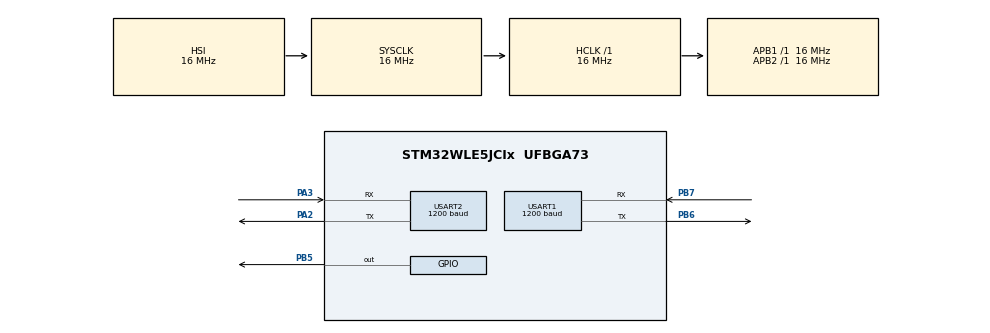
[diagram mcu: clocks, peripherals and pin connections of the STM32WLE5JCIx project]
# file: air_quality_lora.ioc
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Mcu.Family=STM32WL
Mcu.Name=STM32WLE5JCIx
Mcu.Package=UFBGA73
NVIC.PriorityGroup=NVIC_PRIORITYGROUP_4
NVIC.RTC_Alarm_IRQn=true\:0\:0\:false\:false\:true\:true\:true\:true
NVIC.USART2_IRQn=true\:0\:0\:false\:false\:true\:true\:true\:true
PA2.Mode=Asynchronous
PA2.Signal=USART2_TX
PA3.Mode=Asynchronous
PA3.Signal=USART2_RX
PB5.PinState=GPIO_PIN_SET
PB5.Signal=GPIO_Output
PB6.Mode=Asynchronous
PB6.Signal=USART1_TX
PB7.Mode=Asynchronous
PB7.Signal=USART1_RX
ProjectManager.HeapSize=0x200
ProjectManager.StackSize=0x400
ProjectManager.TargetToolchain=STM32CubeIDE
RCC.AHBFreq_Value=16000000
RCC.APB1Freq_Value=16000000
RCC.APB1TimFreq_Value=16000000
RCC.APB2Freq_Value=16000000
RCC.APB2TimFreq_Value=16000000
RCC.APB3Freq_Value=16000000
RCC.CortexFreq_Value=16000000
RCC.HCLKFreq_Value=16000000
RCC.HSE_VALUE=8000000
RCC.HSI_VALUE=16000000
RCC.LSE_VALUE=32768
RCC.SYSCLKFreq_VALUE=16000000
RCC.SYSCLKSource=RCC_SYSCLKSOURCE_HSI
RCC.VCOOutputFreq_Value=32000000
RTC.Alarm-Alarm\ A=RTC_ALARM_A
RTC.AlarmMaskDateWeekDay-Alarm\ A=RTC_ALARMMASK_DATEWEEKDAY
RTC.AlarmMaskHours-Alarm\ A=RTC_ALARMMASK_HOURS
RTC.AlarmMaskMinutes-Alarm\ A=RTC_ALARMMASK_MINUTES
RTC.AlarmSubSecondMask-Alarm\ A=RTC_ALARMSUBSECONDMASK_NONE
RTC.HourFormat=RTC_HOURFORMAT_12
RTC.Seconds_A-Alarm\ A=10
RTC.SynchPrediv=249
TIM17.AutoReloadPreload=TIM_AUTORELOAD_PRELOAD_DISABLE
TIM17.Period=0xffff
TIM17.Prescaler=15
USART1.BaudRate=1200
USART1.VirtualMode-Asynchronous=VM_ASYNC
USART2.BaudRate=1200
USART2.VirtualMode-Asynchronous=VM_ASYNC
VP_RTC_VS_RTC_Activate.Mode=RTC_Enabled
VP_RTC_VS_RTC_Alarm_A_Intern.Mode=Alarm A
VP_RTC_VS_RTC_Calendar.Mode=RTC_Calendar
VP_TIM17_VS_ClockSourceINT.Mode=Enable_Timer
board=custom

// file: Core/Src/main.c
/* USER CODE BEGIN Header */
/**
  ******************************************************************************
  * @file           : main.c
  * @brief          : Main program body
  ******************************************************************************
  * @attention
  *
  * Copyright (c) 2023 STMicroelectronics.
  * All rights reserved.
  *
  * This software is licensed under terms that can be found in the LICENSE file
  * in the root directory of this software component.
  * If no LICENSE file comes with this software, it is provided AS-IS.
  *
  ******************************************************************************
  */
/* USER CODE END Header */
#include "main.h"

/* USER CODE BEGIN Includes */
#include <string.h>
#include <stdio.h>
/* USER CODE END Includes */

RTC_HandleTypeDef hrtc;

TIM_HandleTypeDef htim17;

UART_HandleTypeDef huart1;
UART_HandleTypeDef huart2;

/* USER CODE BEGIN PV */
GPIO_InitTypeDef pb10 = {0};
char msg[100];
char HUM[100], TEMP[100];
DHT11_t dht11;
volatile uint32_t ms;

//commands for the particle sensor
const uint8_t init_cmd = 0xFF;
const uint8_t start_cmd[5] = {0xFE, 0xA5, 0x00, 0x11, 0xB6};
const uint8_t stop_cmd[5] = {0xFE, 0xA5, 0x00, 0x10, 0xB5};
const uint8_t read_pm25[5] = {0xFE, 0xA5, 0x00, 0x00, 0xA5};
const uint8_t read_all[5] = {0xFE, 0xA5, 0x00, 0x01, 0xA6};

IH_PMC_t particle_sensor;
uint8_t data_byte;
volatile uint8_t cnt = 0, alarm_flag = 0;
/* USER CODE END PV */

void SystemClock_Config(void);
static void MX_GPIO_Init(void);
static void MX_TIM17_Init(void);
static void MX_USART1_UART_Init(void);
static void MX_USART2_UART_Init(void);
static void MX_RTC_Init(void);
/* USER CODE BEGIN PFP */
void delay_us(uint32_t us);
void delay_ms(uint32_t delay);
void DHT11_start(void);
uint8_t Check_Response(void);
void DHT11_read(void);
void Temp_humidity_values(void);
void Particle_sensor_values(void);

/* USER CODE END PFP */

int main(void)
{

  /* MCU Configuration--------------------------------------------------------*/

  /* Reset of all peripherals, Initializes the Flash interface and the Systick. */
  HAL_Init();

  /* Configure the system clock */
  SystemClock_Config();

  /* Initialize all configured peripherals */
  MX_GPIO_Init();
  MX_TIM17_Init();
  MX_USART1_UART_Init();
  MX_USART2_UART_Init();
  MX_RTC_Init();

  /* Infinite loop */
  /* USER CODE BEGIN WHILE */
  while (1)
  {
	  if(alarm_flag)
	  {
		  Particle_sensor_values();
      	  Temp_humidity_values();
      	  alarm_flag = 0;

      	  sprintf(msg, "Enter sleep mode\r\n\r\n");
      	  HAL_UART_Transmit(&huart1, (uint8_t *)msg, strlen(msg), HAL_MAX_DELAY);

      	  HAL_SuspendTick();
      	  HAL_PWR_EnterSLEEPMode(PWR_MAINREGULATOR_ON, PWR_SLEEPENTRY_WFI);

      	  sprintf(msg, "Exit sleep mode\r\n\r\n");
      	  HAL_UART_Transmit(&huart1, (uint8_t *)msg, strlen(msg), HAL_MAX_DELAY);
	  }
      /* USER CODE END WHILE */

  }
}

void SystemClock_Config(void)
{
  RCC_OscInitTypeDef RCC_OscInitStruct = {0};
  RCC_ClkInitTypeDef RCC_ClkInitStruct = {0};

  /** Configure the main internal regulator output voltage
  */
  __HAL_PWR_VOLTAGESCALING_CONFIG(PWR_REGULATOR_VOLTAGE_SCALE2);

  /** Initializes the CPU, AHB and APB buses clocks
  */
  RCC_OscInitStruct.OscillatorType = RCC_OSCILLATORTYPE_HSI|RCC_OSCILLATORTYPE_LSI;
  RCC_OscInitStruct.HSIState = RCC_HSI_ON;
  RCC_OscInitStruct.HSICalibrationValue = RCC_HSICALIBRATION_DEFAULT;
  RCC_OscInitStruct.LSIDiv = RCC_LSI_DIV1;
  RCC_OscInitStruct.LSIState = RCC_LSI_ON;
  RCC_OscInitStruct.PLL.PLLState = RCC_PLL_NONE;
  if (HAL_RCC_OscConfig(&RCC_OscInitStruct) != HAL_OK)
  {
    Error_Handler();
  }

  /** Configure the SYSCLKSource, HCLK, PCLK1 and PCLK2 clocks dividers
  */
  RCC_ClkInitStruct.ClockType = RCC_CLOCKTYPE_HCLK3|RCC_CLOCKTYPE_HCLK
                              |RCC_CLOCKTYPE_SYSCLK|RCC_CLOCKTYPE_PCLK1
                              |RCC_CLOCKTYPE_PCLK2;
  RCC_ClkInitStruct.SYSCLKSource = RCC_SYSCLKSOURCE_HSI;
  RCC_ClkInitStruct.AHBCLKDivider = RCC_SYSCLK_DIV1;
  RCC_ClkInitStruct.APB1CLKDivider = RCC_HCLK_DIV1;
  RCC_ClkInitStruct.APB2CLKDivider = RCC_HCLK_DIV1;
  RCC_ClkInitStruct.AHBCLK3Divider = RCC_SYSCLK_DIV1;

  if (HAL_RCC_ClockConfig(&RCC_ClkInitStruct, FLASH_LATENCY_0) != HAL_OK)
  {
    Error_Handler();
  }
}

static void MX_RTC_Init(void)
{

  RTC_TimeTypeDef sTime = {0};
  RTC_DateTypeDef sDate = {0};
  RTC_AlarmTypeDef sAlarm = {0};

  /** Initialize RTC Only
  */
  hrtc.Instance = RTC;
  hrtc.Init.HourFormat = RTC_HOURFORMAT_12;
  hrtc.Init.AsynchPrediv = 127;
  hrtc.Init.SynchPrediv = 249;
  hrtc.Init.OutPut = RTC_OUTPUT_DISABLE;
  hrtc.Init.OutPutRemap = RTC_OUTPUT_REMAP_NONE;
  hrtc.Init.OutPutPolarity = RTC_OUTPUT_POLARITY_HIGH;
  hrtc.Init.OutPutType = RTC_OUTPUT_TYPE_OPENDRAIN;
  hrtc.Init.OutPutPullUp = RTC_OUTPUT_PULLUP_NONE;
  hrtc.Init.BinMode = RTC_BINARY_NONE;
  if (HAL_RTC_Init(&hrtc) != HAL_OK)
  {
    Error_Handler();
  }

  /** Initialize RTC and set the Time and Date
  */
  sTime.Hours = 0x1;
  sTime.Minutes = 0x0;
  sTime.Seconds = 0x0;
  sTime.TimeFormat = RTC_HOURFORMAT12_AM;
  sTime.DayLightSaving = RTC_DAYLIGHTSAVING_NONE;
  sTime.StoreOperation = RTC_STOREOPERATION_RESET;
  if (HAL_RTC_SetTime(&hrtc, &sTime, RTC_FORMAT_BCD) != HAL_OK)
  {
    Error_Handler();
  }
  sDate.WeekDay = RTC_WEEKDAY_MONDAY;
  sDate.Month = RTC_MONTH_JANUARY;
  sDate.Date = 0x1;
  sDate.Year = 0x0;

  if (HAL_RTC_SetDate(&hrtc, &sDate, RTC_FORMAT_BCD) != HAL_OK)
  {
    Error_Handler();
  }

  /** Enable the Alarm A
  */
  sAlarm.AlarmTime.Hours = 0x0;
  sAlarm.AlarmTime.Minutes = 0x0;
  sAlarm.AlarmTime.Seconds = 0x10;
  sAlarm.AlarmTime.SubSeconds = 0x0;
  sAlarm.AlarmTime.TimeFormat = RTC_HOURFORMAT12_AM;
  sAlarm.AlarmTime.DayLightSaving = RTC_DAYLIGHTSAVING_NONE;
  sAlarm.AlarmTime.StoreOperation = RTC_STOREOPERATION_RESET;
  sAlarm.AlarmMask = RTC_ALARMMASK_DATEWEEKDAY|RTC_ALARMMASK_HOURS
                              |RTC_ALARMMASK_MINUTES;
  sAlarm.AlarmSubSecondMask = RTC_ALARMSUBSECONDMASK_NONE;
  sAlarm.AlarmDateWeekDaySel = RTC_ALARMDATEWEEKDAYSEL_DATE;
  sAlarm.AlarmDateWeekDay = 0x1;
  sAlarm.Alarm = RTC_ALARM_A;
  if (HAL_RTC_SetAlarm_IT(&hrtc, &sAlarm, RTC_FORMAT_BCD) != HAL_OK)
  {
    Error_Handler();
  }

}

static void MX_TIM17_Init(void)
{

  htim17.Instance = TIM17;
  htim17.Init.Prescaler = 15;
  htim17.Init.CounterMode = TIM_COUNTERMODE_UP;
  htim17.Init.Period = 0xffff;
  htim17.Init.ClockDivision = TIM_CLOCKDIVISION_DIV1;
  htim17.Init.RepetitionCounter = 0;
  htim17.Init.AutoReloadPreload = TIM_AUTORELOAD_PRELOAD_DISABLE;
  if (HAL_TIM_Base_Init(&htim17) != HAL_OK)
  {
    Error_Handler();
  }

}

static void MX_USART1_UART_Init(void)
{

  huart1.Instance = USART1;
  huart1.Init.BaudRate = 1200;
  huart1.Init.WordLength = UART_WORDLENGTH_8B;
  huart1.Init.StopBits = UART_STOPBITS_1;
  huart1.Init.Parity = UART_PARITY_NONE;
  huart1.Init.Mode = UART_MODE_TX_RX;
  huart1.Init.HwFlowCtl = UART_HWCONTROL_NONE;
  huart1.Init.OverSampling = UART_OVERSAMPLING_16;
  huart1.Init.OneBitSampling = UART_ONE_BIT_SAMPLE_DISABLE;
  huart1.Init.ClockPrescaler = UART_PRESCALER_DIV1;
  huart1.AdvancedInit.AdvFeatureInit = UART_ADVFEATURE_NO_INIT;
  if (HAL_UART_Init(&huart1) != HAL_OK)
  {
    Error_Handler();
  }
  if (HAL_UARTEx_SetTxFifoThreshold(&huart1, UART_TXFIFO_THRESHOLD_1_8) != HAL_OK)
  {
    Error_Handler();
  }
  if (HAL_UARTEx_SetRxFifoThreshold(&huart1, UART_RXFIFO_THRESHOLD_1_8) != HAL_OK)
  {
    Error_Handler();
  }
  if (HAL_UARTEx_DisableFifoMode(&huart1) != HAL_OK)
  {
    Error_Handler();
  }

}

static void MX_USART2_UART_Init(void)
{

  huart2.Instance = USART2;
  huart2.Init.BaudRate = 1200;
  huart2.Init.WordLength = UART_WORDLENGTH_8B;
  huart2.Init.StopBits = UART_STOPBITS_1;
  huart2.Init.Parity = UART_PARITY_NONE;
  huart2.Init.Mode = UART_MODE_TX_RX;
  huart2.Init.HwFlowCtl = UART_HWCONTROL_NONE;
  huart2.Init.OverSampling = UART_OVERSAMPLING_16;
  huart2.Init.OneBitSampling = UART_ONE_BIT_SAMPLE_DISABLE;
  huart2.Init.ClockPrescaler = UART_PRESCALER_DIV1;
  huart2.AdvancedInit.AdvFeatureInit = UART_ADVFEATURE_NO_INIT;
  if (HAL_UART_Init(&huart2) != HAL_OK)
  {
    Error_Handler();
  }
  if (HAL_UARTEx_SetTxFifoThreshold(&huart2, UART_TXFIFO_THRESHOLD_1_8) != HAL_OK)
  {
    Error_Handler();
  }
  if (HAL_UARTEx_SetRxFifoThreshold(&huart2, UART_RXFIFO_THRESHOLD_1_8) != HAL_OK)
  {
    Error_Handler();
  }
  if (HAL_UARTEx_DisableFifoMode(&huart2) != HAL_OK)
  {
    Error_Handler();
  }

}

static void MX_GPIO_Init(void)
{
  GPIO_InitTypeDef GPIO_InitStruct = {0};

  /* GPIO Ports Clock Enable */
  __HAL_RCC_GPIOB_CLK_ENABLE();
  __HAL_RCC_GPIOA_CLK_ENABLE();

  /*Configure GPIO pin Output Level */
  HAL_GPIO_WritePin(GPIOB, GPIO_PIN_5, GPIO_PIN_SET);

  /*Configure GPIO pin : PB5 */
  GPIO_InitStruct.Pin = GPIO_PIN_5;
  GPIO_InitStruct.Mode = GPIO_MODE_OUTPUT_PP;
  GPIO_InitStruct.Pull = GPIO_NOPULL;
  GPIO_InitStruct.Speed = GPIO_SPEED_FREQ_LOW;
  HAL_GPIO_Init(GPIOB, &GPIO_InitStruct);

}

/* USER CODE BEGIN 4 */
void HAL_RTC_AlarmAEventCallback(RTC_HandleTypeDef *hrtc)
{
	HAL_ResumeTick();
	alarm_flag = 1;
	HAL_GPIO_TogglePin(GPIOB, GPIO_PIN_5);
}
void delay_us(uint32_t us)
{
	__HAL_TIM_SET_COUNTER(&htim17, 0); //set counter to 0
	while(__HAL_TIM_GET_COUNTER(&htim17) < us); //wait until reaches the desired delay in us
}
void delay_ms(uint32_t delay)
{
	ms = 0;
	while(ms < delay);
}

void PB10_Init_Output(void)
{
	__HAL_RCC_GPIOB_CLK_ENABLE();

	pb10.Mode = GPIO_MODE_OUTPUT_PP;
	pb10.Pin = GPIO_PIN_10;
	pb10.Pull = GPIO_NOPULL;
	pb10.Speed = GPIO_SPEED_FREQ_LOW;
	HAL_GPIO_Init(GPIOB, &pb10);

}
void PB10_Init_Input(void)
{
	__HAL_RCC_GPIOB_CLK_ENABLE();

	pb10.Mode = GPIO_MODE_INPUT;
	pb10.Pin = GPIO_PIN_10;
	pb10.Speed = GPIO_SPEED_FREQ_LOW;
	HAL_GPIO_Init(GPIOB, &pb10);

}

void DHT11_start(void)
{
	PB10_Init_Output(); 									//PB10 set as output
	HAL_GPIO_WritePin(GPIOB, GPIO_PIN_10, GPIO_PIN_RESET); 	// PB10 set to LOW

	delay_ms(20);											//delay 18 ms

	HAL_GPIO_WritePin(GPIOB, GPIO_PIN_10, GPIO_PIN_SET); 	// PB10 set to HIGH

	PB10_Init_Input(); 										// PB10 set as input

}

uint8_t Check_Response(void)
{
	uint8_t Response = 0;

	delay_us(40);							//50us delay

	if(HAL_GPIO_ReadPin(GPIOB, GPIO_PIN_10) == GPIO_PIN_RESET)		//if PB10 is LOW
	{
		delay_us(80);						//80us delay

		if(HAL_GPIO_ReadPin(GPIOB, GPIO_PIN_10) == GPIO_PIN_SET)
		{
			Response = 1;

		}
		else
		{
			Response = -1;

		}

	}

	while(HAL_GPIO_ReadPin(GPIOB, GPIO_PIN_10) == GPIO_PIN_SET); //wait for the PB10 to go LOW

	return Response;
}

void DHT11_read(void)
{

	uint8_t bit;

	for(uint32_t i = 0; i<32; i++)
	{
		while(HAL_GPIO_ReadPin(GPIOB, GPIO_PIN_10) == GPIO_PIN_RESET); 	//wait for the PB10 to go HIGH
		delay_us(40);

		if(HAL_GPIO_ReadPin(GPIOB, GPIO_PIN_10) == GPIO_PIN_SET)		//check if the PB10 is HIGH or LOW
			bit = 1;
		else
			bit = 0;

		dht11.getResult |= (bit << (31 - i));

		while(HAL_GPIO_ReadPin(GPIOB, GPIO_PIN_10) == GPIO_PIN_SET); 	//wait for the PB10 to go LOW

	}

}

void Temp_humidity_values(void)
{
	HAL_TIM_Base_Start(&htim17);
	delay_ms(1000);

	DHT11_start();
	Check_Response();
	DHT11_read();

	sprintf(HUM, "HUM: %d,%d %%\r\n", dht11.Values.intRH,dht11.Values.decRH );
	HAL_UART_Transmit(&huart1, (uint8_t*)HUM, strlen(HUM), HAL_MAX_DELAY);

	sprintf(TEMP, "TEMP: %d,%d C\r\n\r\n", dht11.Values.intT,dht11.Values.decT);
	HAL_UART_Transmit(&huart1, (uint8_t*)TEMP, strlen(TEMP), HAL_MAX_DELAY);

	dht11.getResult = 0;

}

void Particle_sensor_values(void)
{
	HAL_UART_Transmit(&huart2, &init_cmd, sizeof(init_cmd), HAL_MAX_DELAY);
	delay_ms(20);
	HAL_UART_Transmit(&huart2, start_cmd, sizeof(start_cmd), HAL_MAX_DELAY);
	delay_ms(2000);
	HAL_UART_Transmit(&huart2, read_all, sizeof(read_all), HAL_MAX_DELAY);

	while(cnt < 11)
		HAL_UART_Receive_IT(&huart2, &data_byte, 1);

	delay_ms(1000);
	HAL_UART_Transmit(&huart2, stop_cmd, sizeof(stop_cmd), HAL_MAX_DELAY);

	sprintf(msg, "PM1: %d ug/m3\r\nPM2.5: %d ug/m3\r\nPM10: %d ug/m3\r\n", particle_sensor.Values.B5, particle_sensor.Values.B7, particle_sensor.Values.B9);
	HAL_UART_Transmit(&huart1, (uint8_t *)msg, strlen(msg), HAL_MAX_DELAY);
}

void HAL_UART_RxCpltCallback(UART_HandleTypeDef *huart)
{
	particle_sensor.getResult[cnt++] = data_byte;
}

/* USER CODE END 4 */

void Error_Handler(void)
{
  __disable_irq();
  while (1)
  {
  }
}
